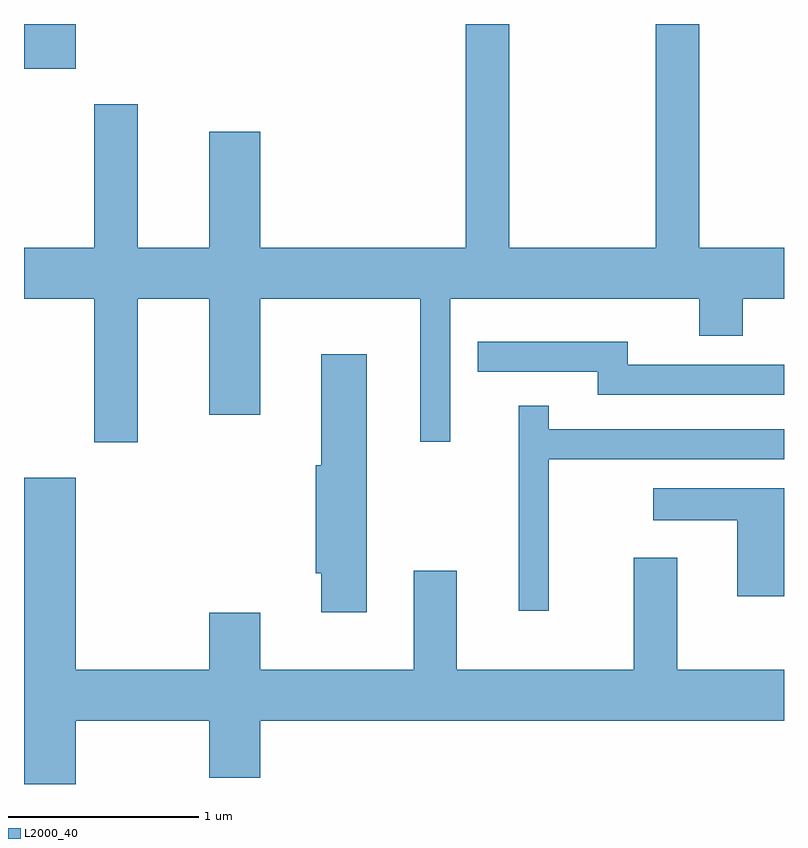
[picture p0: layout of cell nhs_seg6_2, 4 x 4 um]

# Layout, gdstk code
import gdstk
lib = gdstk.Library(unit=1e-6, precision=1e-09)
def R(c, l, rs):  # rectangles x0, y0, x1, y1
    for r in rs: c.add(gdstk.rectangle(r[:2], r[2:], *l))
def P(c, l, *ps):  # polygons
    for p in ps: c.add(gdstk.Polygon(p, *l))
L2000_40 = (2000, 40)

nhs_seg6_2 = lib.new_cell('nhs_seg6_2')
R(nhs_seg6_2, L2000_40, [(185.611,1537.926,185.884,1538.162)])
P(nhs_seg6_2, L2000_40, [(186.209,1536.716),(186.586,1536.716),(186.586,1536.106),(186.854,1536.106),(186.854,1536.716),(187.696,1536.716),(187.696,1535.963),(187.854,1535.963),(187.854,1536.716),(189.166,1536.716),(189.166,1536.521),(189.394,1536.521),(189.394,1536.716),(189.611,1536.716),(189.611,1536.984),(189.164,1536.984),(189.164,1538.162),(188.936,1538.162),(188.936,1536.984),(188.164,1536.984),(188.164,1538.162),(187.936,1538.162),(187.936,1536.984),(186.854,1536.984),(186.854,1537.594),(186.586,1537.594),(186.586,1536.984),(186.209,1536.984),(186.209,1537.739),(185.981,1537.739),(185.981,1536.984),(185.611,1536.984),(185.611,1536.716),(185.981,1536.716),(185.981,1535.961),(186.209,1535.961)],
  [(189.611,1536.369),(188.789,1536.369),(188.789,1536.489),(187.998,1536.489),(187.998,1536.331),(188.631,1536.331),(188.631,1536.211),(189.611,1536.211)],
  [(187.414,1536.424),(187.176,1536.424),(187.176,1535.839),(187.146,1535.839),(187.146,1535.271),(187.176,1535.271),(187.176,1535.066),(187.414,1535.066)],
  [(188.374,1535.871),(189.611,1535.871),(189.611,1536.029),(188.374,1536.029),(188.374,1536.153),(188.216,1536.153),(188.216,1535.073),(188.374,1535.073)],
  [(185.884,1534.496),(186.586,1534.496),(186.586,1534.196),(186.854,1534.196),(186.854,1534.496),(189.611,1534.496),(189.611,1534.764),(189.049,1534.764),(189.049,1535.354),(188.821,1535.354),(188.821,1534.764),(187.889,1534.764),(187.889,1535.284),(187.661,1535.284),(187.661,1534.764),(186.854,1534.764),(186.854,1535.064),(186.586,1535.064),(186.586,1534.764),(185.884,1534.764),(185.884,1535.774),(185.611,1535.774),(185.611,1534.162),(185.884,1534.162)],
  [(189.611,1535.719),(188.923,1535.719),(188.923,1535.551),(189.366,1535.551),(189.366,1535.151),(189.611,1535.151)])

lib.write_gds('nhs_seg6_2.gds')
